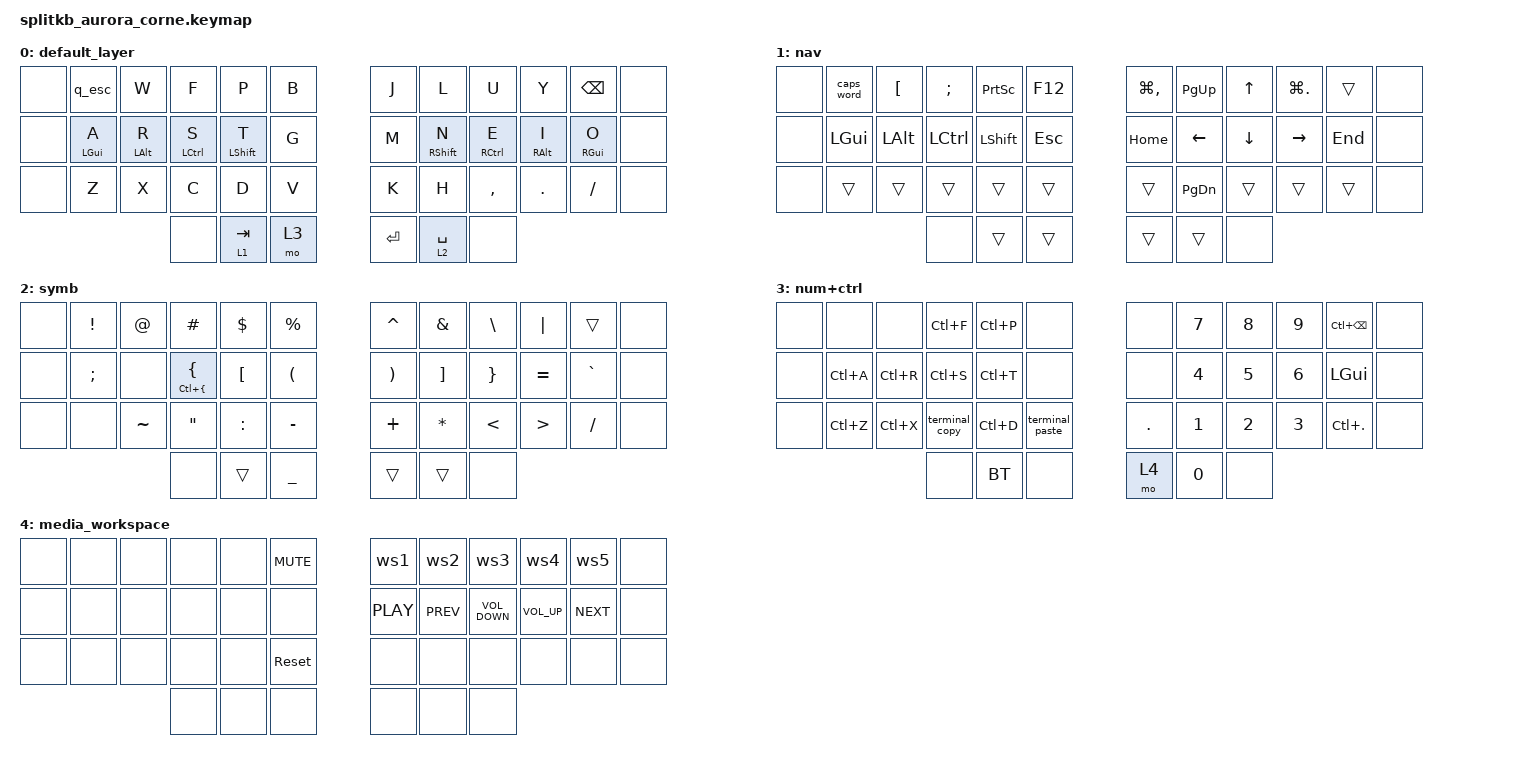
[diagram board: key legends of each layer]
/*
 * Copyright (c) 2020 The ZMK Contributors
 *
 * SPDX-License-Identifier: MIT
 */

#include <behaviors.dtsi>
#include <dt-bindings/zmk/bt.h>
#include <dt-bindings/zmk/keys.h>

/ {
    combos {
        compatible = "zmk,combos";

        qw_esc {
            bindings = <&kp ESCAPE>;
            key-positions = <12 13>;
            layers = <0>;
            require-prior-idle-ms = <150>;
            slow-release;
        };

        combo_tab {
            bindings = <&none>;
            key-positions = <37 40>;
            slow-release;
            layers = <0>;
        };
    };

    behaviors {
        hml: hml {
            compatible = "zmk,behavior-hold-tap";
            label = "HML";
            #binding-cells = <2>;
            bindings = <&kp>, <&kp>;

            tapping-term-ms = <280>;
            quick-tap-ms = <175>;
            flavor = "balanced";
            hold-trigger-on-release;
            hold-trigger-key-positions = <6 7 8 9 10 11 18 19 20 21 22 23 30 31 32 33 34 35 39 40 41 36 37 38>;
            require-prior-idle-ms = <150>;
        };

        hmr: hmr {
            compatible = "zmk,behavior-hold-tap";
            label = "HMR";
            bindings = <&kp>, <&kp>;

            #binding-cells = <2>;
            tapping-term-ms = <280>;
            quick-tap-ms = <175>;
            flavor = "balanced";
            hold-trigger-on-release;
            hold-trigger-key-positions = <0 1 2 3 4 5 12 13 14 15 16 17 24 25 26 27 28 29 36 37 38 39 40 41>;
            require-prior-idle-ms = <150>;
        };

        caps_word_layer: caps_word_layer {
            compatible = "zmk,behavior-hold-tap";
            label = "CAPS_WORD_LAYER";
            bindings = <&mo>, <&caps_word>;

            #binding-cells = <2>;
            tapping-term-ms = <280>;
            quick-tap-ms = <175>;
            require-prior-idle-ms = <150>;
            flavor = "balanced";
            hold-trigger-on-release;
        };

        sticky_shift_layer: sticky_shift_layer {
            compatible = "zmk,behavior-hold-tap";
            label = "STICKY_SHIFT_LAYER";
            bindings = <&mo>, <&sticky_quick>;

            #binding-cells = <2>;
            tapping-term-ms = <100>;
            quick-tap-ms = <175>;
            require-prior-idle-ms = <250>;
            flavor = "hold-preferred";
            hold-while-undecided;
            hold-trigger-key-positions = <6 7 8 16 17 18 26 27 28 33 20 21 22 23 24 0 1 2 3 4 10 11 12 13 14 20 21 22 23 24 5 6 7 8 9 15 16 17 18 19 25 26 27 28 29 39 30 31 32 33 34 35>;
            hold-while-undecided-linger;
        };

        a_esc: a_esc {
            compatible = "zmk,behavior-hold-tap";
            label = "A_ESC";
            bindings = <&kp>, <&kp>;

            #binding-cells = <2>;
            tapping-term-ms = <280>;
            quick-tap-ms = <175>;
            require-prior-idle-ms = <150>;
            flavor = "balanced";
            hold-trigger-on-release;
        };

        enter_tab: enter_tab {
            compatible = "zmk,behavior-hold-tap";
            label = "ENTER_TAB";
            bindings = <&kp>, <&kp>;

            #binding-cells = <2>;
            tapping-term-ms = <280>;
            quick-tap-ms = <175>;
            require-prior-idle-ms = <150>;
            hold-trigger-on-release;
        };

        sticky_quick: sticky_quick {
            compatible = "zmk,behavior-sticky-key";
            label = "STICKY_QUICK";
            bindings = <&kp>;
            #binding-cells = <1>;
            release-after-ms = <1000>;
            quick-release;
            ignore-modifiers;
        };

        q_esc: q_esc {
            compatible = "zmk,behavior-tap-dance";
            label = "Q_ESC";
            #binding-cells = <0>;
            bindings = <&kp Q>, <&kp ESC>;
        };

        BT: BT {
            compatible = "zmk,behavior-tap-dance";
            label = "BT";
            #binding-cells = <0>;
            bindings = <&bt BT_NXT>, <&bt BT_CLR_ALL>;
        };

        ws1: ws1 {
            compatible = "zmk,behavior-tap-dance";
            label = "WS1";
            #binding-cells = <0>;
            bindings = <&kp LG(NUMBER_1)>, <&kp LS(LG(NUMBER_1))>;
        };

        ws2: ws2 {
            compatible = "zmk,behavior-tap-dance";
            label = "WS2";
            #binding-cells = <0>;
            bindings = <&kp LG(NUMBER_2)>, <&kp LS(LG(NUMBER_2))>;
        };

        ws3: ws3 {
            compatible = "zmk,behavior-tap-dance";
            label = "WS3";
            #binding-cells = <0>;
            bindings = <&kp LG(NUMBER_3)>, <&kp LG(LS(NUMBER_3))>;
        };

        ws4: ws4 {
            compatible = "zmk,behavior-tap-dance";
            label = "WS4";
            #binding-cells = <0>;
            bindings = <&kp LG(NUMBER_4)>, <&kp LG(LS(NUMBER_4))>;
        };

        ws5: ws5 {
            compatible = "zmk,behavior-tap-dance";
            label = "WS5";
            #binding-cells = <0>;
            bindings = <&kp LG(N5)>, <&kp LS(LG(N5))>;
        };

        backspace_behavior: backspace_behavior {
            compatible = "zmk,behavior-hold-tap";
            label = "BACKSPACE_BEHAVIOR";
            bindings = <&kp>, <&kp>;

            #binding-cells = <2>;
            tapping-term-ms = <200>;
        };

        tab_layer: tab_layer {
            compatible = "zmk,behavior-hold-tap";
            label = "TAB_LAYER";
            bindings = <&mo>, <&kp>;

            #binding-cells = <2>;
            tapping-term-ms = <181>;
            quick-tap-ms = <175>;
            require-prior-idle-ms = <150>;
            flavor = "hold-preferred";
            hold-while-undecided;
            hold-trigger-key-positions = <6 7 8 16 17 18 26 27 28 15 16 17 18 19 4 0 1 2 3 4 5 6 7 8 9 10 11 12 13 14 15 16 17 18 19 20 21 22 23 24 25 26 27 28 29 30 31 32 33 34 35>;
        };

        terminal_copy: terminal_copy {
            compatible = "zmk,behavior-tap-dance";
            label = "TERMINAL_COPY";
            #binding-cells = <0>;
            bindings = <&kp LC(C)>, <&kp LC(LS(C))>;
        };

        terminal_paste: terminal_paste {
            compatible = "zmk,behavior-tap-dance";
            label = "TERMINAL_PASTE";
            #binding-cells = <0>;
            bindings = <&kp LC(V)>, <&kp LC(LS(V))>;
        };
    };

    keymap {
        compatible = "zmk,keymap";

        default_layer {
            // -----------------------------------------------------------------------------------------
            // |  TAB |  Q  |  W  |  E  |  R  |  T  |   |  Y  |  U   |  I  |  O  |  P  | BKSP |
            // | CTRL |  A  |  S  |  D  |  F  |  G  |   |  H  |  J   |  K  |  L  |  ;  |  '   |
            // | SHFT |  Z  |  X  |  C  |  V  |  B  |   |  N  |  M   |  ,  |  .  |  /  | ESC  |
            //                    | GUI | LWR | SPC |   | ENT | RSE  | ALT |

            bindings = <
&none  &q_esc           &kp W            &kp F         &kp P             &kp B    &kp J      &kp L               &kp U         &kp Y             &kp BACKSPACE     &none
&none  &hml LEFT_GUI A  &hml LEFT_ALT R  &hml LCTRL S  &hml LSHIFT T     &kp G    &kp M      &hmr RIGHT_SHIFT N  &hmr RCTRL E  &hmr RIGHT_ALT I  &hmr RIGHT_GUI O  &none
&none  &kp Z            &kp X            &kp C         &kp D             &kp V    &kp K      &kp H               &kp COMMA     &kp DOT           &kp FSLH          &none
                                         &none         &tab_layer 1 TAB  &mo 3    &kp ENTER  &lt 2 SPACE         &none
            >;
        };

        nav {
            // -----------------------------------------------------------------------------------------
            // |  TAB |  1  |  2  |  3  |  4  |  5  |   |  6  |  7  |  8  |  9  |  0  | BKSP |
            // | BTCLR| BT1 | BT2 | BT3 | BT4 | BT5 |   | LFT | DWN |  UP | RGT |     |      |
            // | SHFT |     |     |     |     |     |   |     |     |     |     |     |      |
            //                    | GUI |     | SPC |   | ENT |     | ALT |

            bindings = <
&none  &caps_word    &kp LEFT_BRACKET  &kp SEMI   &kp PRINTSCREEN  &kp F12    &kp LG(COMMA)  &kp PAGE_UP     &kp UP_ARROW  &kp LG(PERIOD)  &trans   &none
&none  &kp LEFT_GUI  &kp LEFT_ALT      &kp LCTRL  &kp LEFT_SHIFT   &kp ESC    &kp HOME       &kp LEFT_ARROW  &kp DOWN      &kp RIGHT       &kp END  &none
&none  &trans        &trans            &trans     &trans           &trans     &trans         &kp PAGE_DOWN   &trans        &trans          &trans   &none
                                       &none      &trans           &trans     &trans         &trans          &none
            >;
        };

        symb {
            // -----------------------------------------------------------------------------------------
            // |  TAB |  !  |  @  |  #  |  $  |  %  |   |  ^  |  &  |  *  |  (  |  )  | BKSP |
            // | CTRL |     |     |     |     |     |   |  -  |  =  |  [  |  ]  |  \  |  `   |
            // | SHFT |     |     |     |     |     |   |  _  |  +  |  {  |  }  | "|" |  ~   |
            //                    | GUI |     | SPC |   | ENT |     | ALT |

            bindings = <
&none  &kp EXCL       &kp AT     &kp HASH                        &kp DLLR          &kp PRCNT               &kp CARET              &kp AMPS           &kp BACKSLASH    &kp PIPE          &trans     &none
&none  &kp SEMICOLON  &none      &hml LC(LEFT_BRACE) LEFT_BRACE  &kp LEFT_BRACKET  &kp LEFT_PARENTHESIS    &kp RIGHT_PARENTHESIS  &kp RIGHT_BRACKET  &kp RIGHT_BRACE  &kp EQUAL         &kp GRAVE  &none
&none  &none          &kp TILDE  &kp DOUBLE_QUOTES               &kp COLON         &kp MINUS               &kp PLUS               &kp ASTERISK       &kp LESS_THAN    &kp GREATER_THAN  &kp SLASH  &none
                                 &none                           &trans            &kp UNDERSCORE          &trans                 &trans             &none
            >;
        };

        num+ctrl {
            bindings = <
&none  &none      &none      &kp LC(F)       &kp LC(P)  &none              &none    &kp NUMBER_7  &kp NUMBER_8  &kp NUMBER_9  &kp LC(BACKSPACE)  &none
&none  &kp LC(A)  &kp LC(R)  &kp LC(S)       &kp LC(T)  &none              &none    &kp NUMBER_4  &kp NUMBER_5  &kp NUMBER_6  &kp LEFT_GUI       &none
&none  &kp LC(Z)  &kp LC(X)  &terminal_copy  &kp LC(D)  &terminal_paste    &kp DOT  &kp NUMBER_1  &kp NUMBER_2  &kp NUMBER_3  &kp LC(PERIOD)     &none
                             &none           &BT        &none              &mo 4    &kp NUMBER_0  &none
            >;
        };

        media_workspace {
            bindings = <
&none  &none  &none  &none  &none  &kp C_MUTE    &ws1        &ws2        &ws3               &ws4             &ws5        &none
&none  &none  &none  &none  &none  &none         &kp C_PLAY  &kp C_PREV  &kp C_VOLUME_DOWN  &kp C_VOLUME_UP  &kp C_NEXT  &none
&none  &none  &none  &none  &none  &sys_reset    &none       &none       &none              &none            &none       &none
                     &none  &none  &none         &none       &none       &none
            >;
        };
    };
};
